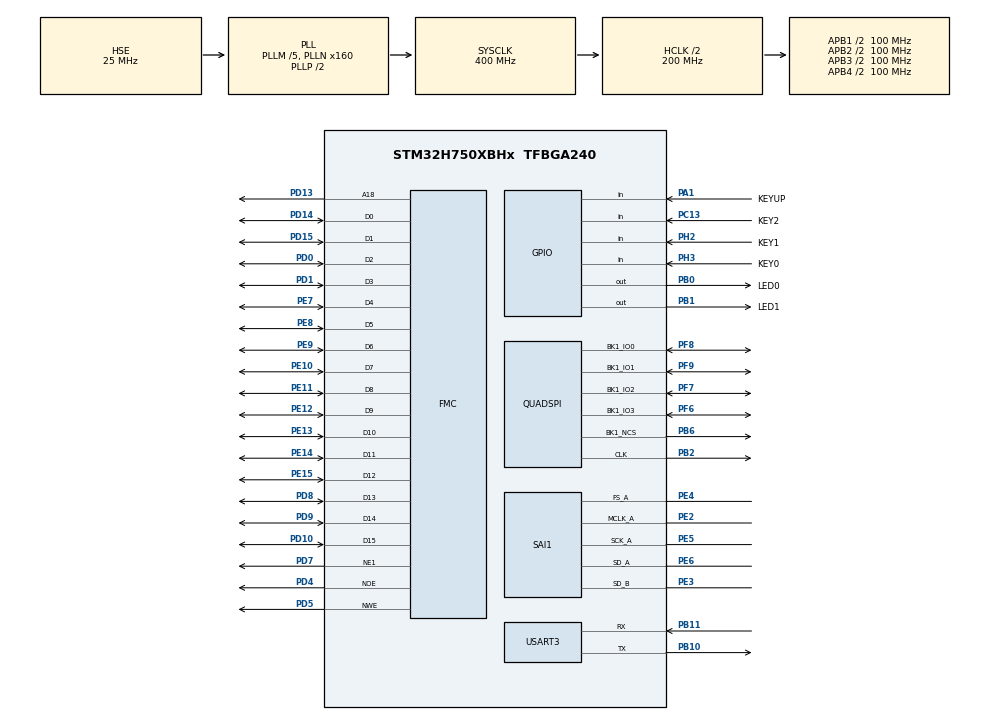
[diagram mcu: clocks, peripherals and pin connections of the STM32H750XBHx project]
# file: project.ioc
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CORTEX_M7.AccessPermission_S-Cortex_Memory_Protection_Unit_Region1_Settings_S=MPU_REGION_FULL_ACCESS
CORTEX_M7.AccessPermission_S-Cortex_Memory_Protection_Unit_Region2_Settings_S=MPU_REGION_FULL_ACCESS
CORTEX_M7.BaseAddress_S-Cortex_Memory_Protection_Unit_Region1_Settings_S=0x60000000
CORTEX_M7.BaseAddress_S-Cortex_Memory_Protection_Unit_Region2_Settings_S=0x90000000
CORTEX_M7.Enable_S-Cortex_Memory_Protection_Unit_Region1_Settings_S=MPU_REGION_ENABLE
CORTEX_M7.Enable_S-Cortex_Memory_Protection_Unit_Region2_Settings_S=MPU_REGION_ENABLE
CORTEX_M7.IsCacheable_S-Cortex_Memory_Protection_Unit_Region2_Settings_S=MPU_ACCESS_CACHEABLE
CORTEX_M7.Size_S-Cortex_Memory_Protection_Unit_Region1_Settings_S=MPU_REGION_SIZE_256MB
CORTEX_M7.Size_S-Cortex_Memory_Protection_Unit_Region2_Settings_S=MPU_REGION_SIZE_8MB
CORTEX_M7.Size_Spec=MPU_REGION_SIZE_512KB
CORTEX_M7.default_mode_Activation=1
DMA2D.ColorMode=DMA2D_OUTPUT_RGB565
Dma.Request0=SAI1_A
Dma.SAI1_A.0.Direction=DMA_MEMORY_TO_PERIPH
Dma.SAI1_A.0.EventEnable=DISABLE
Dma.SAI1_A.0.FIFOMode=DMA_FIFOMODE_ENABLE
Dma.SAI1_A.0.FIFOThreshold=DMA_FIFO_THRESHOLD_1QUARTERFULL
Dma.SAI1_A.0.Instance=DMA1_Stream0
Dma.SAI1_A.0.MemBurst=DMA_MBURST_SINGLE
Dma.SAI1_A.0.MemDataAlignment=DMA_MDATAALIGN_HALFWORD
Dma.SAI1_A.0.MemInc=DMA_MINC_ENABLE
Dma.SAI1_A.0.Mode=DMA_CIRCULAR
Dma.SAI1_A.0.PeriphBurst=DMA_PBURST_SINGLE
Dma.SAI1_A.0.PeriphDataAlignment=DMA_PDATAALIGN_HALFWORD
Dma.SAI1_A.0.PeriphInc=DMA_PINC_DISABLE
Dma.SAI1_A.0.Polarity=HAL_DMAMUX_REQ_GEN_RISING
Dma.SAI1_A.0.Priority=DMA_PRIORITY_VERY_HIGH
Dma.SAI1_A.0.RequestNumber=1
Dma.SAI1_A.0.SignalID=NONE
Dma.SAI1_A.0.SyncEnable=DISABLE
Dma.SAI1_A.0.SyncPolarity=HAL_DMAMUX_SYNC_NO_EVENT
Dma.SAI1_A.0.SyncRequestNumber=1
Dma.SAI1_A.0.SyncSignalID=NONE
FMC.AddressSetupTime1=10
FMC.BusTurnAroundDuration1=10
FMC.DataSetupTime1=25
FMC.WriteFifo1=FMC_WRITE_FIFO_ENABLE
Mcu.Family=STM32H7
Mcu.Name=STM32H750XBHx
Mcu.Package=TFBGA240
Mdma.MDMA_Channel0.Request0=SW
Mdma.MDMA_Channel0.RequestsNb=1
Mdma.MDMA_Channel0.SW.0.BlockCount=1
Mdma.MDMA_Channel0.SW.0.BlockDataLength=0
Mdma.MDMA_Channel0.SW.0.BufferTransferLength=32
Mdma.MDMA_Channel0.SW.0.CircularMode=MDMA_LINEAR_LIST
Mdma.MDMA_Channel0.SW.0.DataAlignment=MDMA_DATAALIGN_PACKENABLE
Mdma.MDMA_Channel0.SW.0.DestBlockAddressOffset=0
Mdma.MDMA_Channel0.SW.0.DestBurst=MDMA_DEST_BURST_4BEATS
Mdma.MDMA_Channel0.SW.0.DestDataSize=MDMA_DEST_DATASIZE_WORD
Mdma.MDMA_Channel0.SW.0.DestinationInc=MDMA_DEST_INC_WORD
Mdma.MDMA_Channel0.SW.0.DstAddress=0
Mdma.MDMA_Channel0.SW.0.Endianness=MDMA_LITTLE_ENDIANNESS_PRESERVE
Mdma.MDMA_Channel0.SW.0.Instance=MDMA_Channel0
Mdma.MDMA_Channel0.SW.0.MaskAddress=0
Mdma.MDMA_Channel0.SW.0.MaskData=0
Mdma.MDMA_Channel0.SW.0.Priority=MDMA_PRIORITY_VERY_HIGH
Mdma.MDMA_Channel0.SW.0.Rank=First
Mdma.MDMA_Channel0.SW.0.SourceBlockAddressOffset=0
Mdma.MDMA_Channel0.SW.0.SourceBurst=MDMA_SOURCE_BURST_4BEATS
Mdma.MDMA_Channel0.SW.0.SourceDataSize=MDMA_SRC_DATASIZE_WORD
Mdma.MDMA_Channel0.SW.0.SourceInc=MDMA_SRC_INC_WORD
Mdma.MDMA_Channel0.SW.0.SrcAddress=0
Mdma.MDMA_Channel0.SW.0.TransferTriggerMode=MDMA_BLOCK_TRANSFER
Mdma.RequestSet0=MDMA_Channel0
Mdma.RequestSetsNb=1
NVIC.DMA1_Stream0_IRQn=true\:5\:0\:true\:false\:true\:false\:true\:true
NVIC.DMA2D_IRQn=true\:5\:0\:true\:false\:true\:true\:true\:true
NVIC.MDMA_IRQn=true\:5\:0\:true\:false\:true\:false\:true\:true
NVIC.PriorityGroup=NVIC_PRIORITYGROUP_4
NVIC.TIM1_UP_IRQn=true\:15\:0\:false\:false\:true\:false\:true\:true
NVIC.TimeBase=TIM1_UP_IRQn
NVIC.TimeBaseIP=TIM1
PA1.GPIO_Label=KEYUP
PA1.GPIO_PuPd=GPIO_PULLDOWN
PA1.Signal=GPIO_Input
PB0.GPIO_Label=LED0
PB0.Signal=GPIO_Output
PB1.GPIO_Label=LED1
PB1.Signal=GPIO_Output
PB10.Mode=Asynchronous
PB10.Signal=USART3_TX
PB11.Mode=Asynchronous
PB11.Signal=USART3_RX
PB2.Mode=Single Bank 1
PB2.Signal=QUADSPI_CLK
PB6.Mode=Single Bank 1
PB6.Signal=QUADSPI_BK1_NCS
PC13.GPIO_Label=KEY2
PC13.Signal=GPIO_Input
PC14-OSC32_IN\ (OSC32_IN).Mode=LSE-External-Oscillator
PC14-OSC32_IN\ (OSC32_IN).Signal=RCC_OSC32_IN
PC15-OSC32_OUT\ (OSC32_OUT).Mode=LSE-External-Oscillator
PC15-OSC32_OUT\ (OSC32_OUT).Signal=RCC_OSC32_OUT
PD0.Signal=FMC_D2_DA2
PD1.Signal=FMC_D3_DA3
PD10.Signal=FMC_D15_DA15
PD13.Signal=FMC_A18
PD14.Signal=FMC_D0_DA0
PD15.Signal=FMC_D1_DA1
PD4.Signal=FMC_NOE
PD5.Signal=FMC_NWE
PD7.Mode=NorPsramChipSelect1_1
PD7.Signal=FMC_NE1
PD8.Signal=FMC_D13_DA13
PD9.Signal=FMC_D14_DA14
PE10.Signal=FMC_D7_DA7
PE11.Signal=FMC_D8_DA8
PE12.Signal=FMC_D9_DA9
PE13.Signal=FMC_D10_DA10
PE14.Signal=FMC_D11_DA11
PE15.Signal=FMC_D12_DA12
PE2.Mode=SAI_A_MasterWithClock
PE2.Signal=SAI1_MCLK_A
PE3.Mode=SAI_B_SyncSlave
PE3.Signal=SAI1_SD_B
PE4.Mode=SAI_A_MasterWithClock
PE4.Signal=SAI1_FS_A
PE5.Mode=SAI_A_MasterWithClock
PE5.Signal=SAI1_SCK_A
PE6.Mode=SAI_A_MasterWithClock
PE6.Signal=SAI1_SD_A
PE7.Signal=FMC_D4_DA4
PE8.Signal=FMC_D5_DA5
PE9.Signal=FMC_D6_DA6
PF6.Mode=Single Bank 1
PF6.Signal=QUADSPI_BK1_IO3
PF7.Mode=Single Bank 1
PF7.Signal=QUADSPI_BK1_IO2
PF8.Mode=Single Bank 1
PF8.Signal=QUADSPI_BK1_IO0
PF9.Mode=Single Bank 1
PF9.Signal=QUADSPI_BK1_IO1
PH0-OSC_IN\ (PH0).Mode=HSE-External-Oscillator
PH0-OSC_IN\ (PH0).Signal=RCC_OSC_IN
PH1-OSC_OUT\ (PH1).Mode=HSE-External-Oscillator
PH1-OSC_OUT\ (PH1).Signal=RCC_OSC_OUT
PH2.GPIO_Label=KEY1
PH2.Signal=GPIO_Input
PH3.GPIO_Label=KEY0
PH3.Signal=GPIO_Input
PH4.Signal=I2C2_SCL
PH5.Signal=I2C2_SDA
ProjectManager.HeapSize=0x2000
ProjectManager.StackSize=0x2000
ProjectManager.TargetToolchain=MDK-ARM V5.32
QUADSPI.ChipSelectHighTime=QSPI_CS_HIGH_TIME_3_CYCLE
QUADSPI.ClockPrescaler=32
QUADSPI.FifoThreshold=4
QUADSPI.FlashSize=23
RCC.ADCFreq_Value=50390625
RCC.APB1Freq_Value=100000000
RCC.APB2Freq_Value=100000000
RCC.APB3Freq_Value=100000000
RCC.APB4Freq_Value=100000000
RCC.CortexFreq_Value=400000000
RCC.D1PPRE=RCC_APB3_DIV2
RCC.D2PPRE1=RCC_APB1_DIV2
RCC.D2PPRE2=RCC_APB2_DIV2
RCC.D3PPRE=RCC_APB4_DIV2
RCC.DIVM1=5
RCC.DIVM3=25
RCC.DIVN1=160
RCC.DIVN3=428
RCC.DIVP3=38
RCC.EnableHSEDSI-ClockTree=true
RCC.HCLKFreq_Value=200000000
RCC.HPRE=RCC_HCLK_DIV2
RCC.PLL2FRACN=0
RCC.PLL3FRACN=0
RCC.PLLFRACN=0
RCC.PLLSourceVirtual=RCC_PLLSOURCE_HSE
RCC.SAI1CLockSelection=RCC_SAI1CLKSOURCE_PLL3
RCC.SYSCLKFreq_VALUE=400000000
RCC.SYSCLKSource=RCC_SYSCLKSOURCE_PLLCLK
RCC.USART234578CLockSelection=RCC_USART234578CLKSOURCE_CSI
RCC.USBFreq_Value=400000000
SAI1.AudioFrequency-SAI_A_MasterWithClock=SAI_AUDIO_FREQUENCY_44K
SAI1.ErrorAudioFreq-SAI_A_MasterWithClock=-0.23 %
SAI1.FIFOThreshold-SAI_A_MasterWithClock=SAI_FIFOTHRESHOLD_1QF
SAI1.FIFOThreshold-SAI_B_SyncSlave=SAI_FIFOTHRESHOLD_1QF
SAI1.InitProtocol-SAI_A_MasterWithClock=Enable
SAI1.InitProtocol-SAI_B_SyncSlave=Enable
SAI1.Instance-SAI_A_MasterWithClock=SAI$Index_Block_A
SAI1.Instance-SAI_B_SyncSlave=SAI$Index_Block_B
SAI1.MClockEnable-SAI_A_MasterWithClock=SAI_MASTERCLOCK_ENABLE
SAI1.NoDivider-SAI_A_MasterWithClock=SAI_MCK_OVERSAMPLING_ENABLE
SAI1.OutputDrive-SAI_A_MasterWithClock=SAI_OUTPUTDRIVE_ENABLE
SAI1.OutputDrive-SAI_B_SyncSlave=SAI_OUTPUTDRIVE_ENABLE
SAI1.RealAudioFreq-SAI_A_MasterWithClock=43.996 KHz
SAI1.VirtualMode-SAI_A_MasterWithClock=VM_MASTER
SAI1.VirtualMode-SAI_B_SyncSlave=VM_SLAVE
SAI1.VirtualProtocol-SAI_A_BASIC=VM_BASIC_PROTOCOL
SAI1.VirtualProtocol-SAI_B_BASIC=VM_BASIC_PROTOCOL
SH.FMC_A18.0=FMC_A18,A18_1
SH.FMC_D0_DA0.0=FMC_D0,16b-d1
SH.FMC_D10_DA10.0=FMC_D10,16b-d1
SH.FMC_D11_DA11.0=FMC_D11,16b-d1
SH.FMC_D12_DA12.0=FMC_D12,16b-d1
SH.FMC_D13_DA13.0=FMC_D13,16b-d1
SH.FMC_D14_DA14.0=FMC_D14,16b-d1
SH.FMC_D15_DA15.0=FMC_D15,16b-d1
SH.FMC_D1_DA1.0=FMC_D1,16b-d1
SH.FMC_D2_DA2.0=FMC_D2,16b-d1
SH.FMC_D3_DA3.0=FMC_D3,16b-d1
SH.FMC_D4_DA4.0=FMC_D4,16b-d1
SH.FMC_D5_DA5.0=FMC_D5,16b-d1
SH.FMC_D6_DA6.0=FMC_D6,16b-d1
SH.FMC_D7_DA7.0=FMC_D7,16b-d1
SH.FMC_D8_DA8.0=FMC_D8,16b-d1
SH.FMC_D9_DA9.0=FMC_D9,16b-d1
SH.FMC_NOE.0=FMC_NOE,Lcd1
SH.FMC_NWE.0=FMC_NWE,Lcd1
USART3.VirtualMode-Asynchronous=VM_ASYNC
VP_DMA2D_VS_DMA2D.Mode=DMA2D_Activate
VP_MEMORYMAP_VS_MEMORYMAP.Mode=CurAppReg
VP_SAI1_VP_$IpInstance_SAIA_SAI_BASIC.Mode=SAI_A_BASIC
VP_SAI1_VP_$IpInstance_SAIB_SAI_BASIC.Mode=SAI_B_BASIC
VP_SYS_VS_tim1.Mode=TIM1
board=custom

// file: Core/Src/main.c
/* USER CODE BEGIN Header */
/**
  ******************************************************************************
  * @file           : main.c
  * @brief          : Main program body
  ******************************************************************************
  * @attention
  *
  * Copyright (c) 2026 STMicroelectronics.
  * All rights reserved.
  *
  * This software is licensed under terms that can be found in the LICENSE file
  * in the root directory of this software component.
  * If no LICENSE file comes with this software, it is provided AS-IS.
  *
  ******************************************************************************
  */
/* USER CODE END Header */
#include "main.h"
#include "dma.h"
#include "dma2d.h"
#include "mdma.h"
#include "quadspi.h"
#include "sai.h"
#include "usart.h"
#include "gpio.h"
#include "fmc.h"

/* USER CODE BEGIN Includes */
#include "FreeRTOS.h"
#include "task.h"
#include "retarget.h"
#include "KEY\key.h"
#include "KEY\task_key.h"
#include "DELAY\delay.h"
#include "LCD\lcd.h"
#include "TOUCH\atk_md0430_touch.h"
#include "QSPI\qspi.h"
#include "ES8388\es8388.h"
#include "PCF8574\pcf8574.h"
#include "I2C\myi2c.h"
#include "SAI\sai_audio.h"
#include "AUDIO/audio_src_flash.h"

#include "lvgl.h"
#include "lv_port_disp.h"
#include "lv_port_indev.h"
/* USER CODE END Includes */

void SystemClock_Config(void);
void PeriphCommonClock_Config(void);
static void MPU_Config(void);

/* USER CODE BEGIN 0 */
// 1. 先在 main 函数外面定义回调函数
void btn_event_cb(lv_event_t * e) {
    lv_event_code_t code = lv_event_get_code(e);
    if(code == LV_EVENT_CLICKED) {
        lv_obj_t * btn = lv_event_get_target(e);
        // 点击后改变按钮颜色为红色
        lv_obj_set_style_bg_color(btn, lv_palette_main(LV_PALETTE_RED), 0);
    }
}

// 2. 在你的测试初始化里调用
void lvgl_touch_test(void) {
    lv_obj_t * btn = lv_btn_create(lv_scr_act());
    lv_obj_set_size(btn, 240, 128);
    lv_obj_center(btn);

    lv_obj_t * label = lv_label_create(btn);
    lv_label_set_text(label, "Click Me!");
    lv_obj_center(label);

    // 修改这一行，传入函数名
    lv_obj_add_event_cb(btn, btn_event_cb, LV_EVENT_ALL, NULL);
}

void vApplicationTickHook(void)
{
    lv_tick_inc(1);
}

void vlvglttask(void *pvParameters)
{
    for(;;)
    {
        lv_timer_handler();
        vTaskDelay(pdMS_TO_TICKS(5));
    }
}

void vled1task(void *pvParameters)
{
	for(;;)
	{
		HAL_GPIO_WritePin(GPIOB, GPIO_PIN_1, 1);
		vTaskDelay(pdMS_TO_TICKS(500));
		HAL_GPIO_WritePin(GPIOB, GPIO_PIN_1, 0);
    vTaskDelay(pdMS_TO_TICKS(500));

	}
}

void vled0task(void *pvParameters)
{
	for(;;)
	{
    HAL_GPIO_WritePin(GPIOB, GPIO_PIN_0, 1);
		vTaskDelay(pdMS_TO_TICKS(50));
		HAL_GPIO_WritePin(GPIOB, GPIO_PIN_0, 0);
    vTaskDelay(pdMS_TO_TICKS(50));

	}
}

void vuarst1task(void *pvParameters)
{
	for(;;)
	{
		vTaskDelay(pdMS_TO_TICKS(100));
    HAL_UART_Transmit(&huart3, (uint8_t *)"rtos ok\r\n", 9, 100);
	}
}

//void vaudiotask(void *pvParameters)
//{
//	audio_init();
//	uint32_t *p = (uint32_t *)0x90100000;
//	printf("Flash 0x90100000: %08X %08X %08X %08X\r\n",p[0], p[1], p[2], p[3]);
//	sai_audio_play(&song_info[0]);
//	vTaskDelete(NULL);
//}

static const flash_audio_t song1 = { 0x100000, 0x307318 };   /* 偏移+长度 */
static const media_item_t playlist[] = {
    { &audio_src_flash, &song1, "flash_test" },
};

/* USER CODE END 0 */

int main(void)
{

  /* USER CODE BEGIN 1 */
    SCB->VTOR = 0x90000000UL;
    __DSB();
  /* USER CODE END 1 */

  /* MPU Configuration--------------------------------------------------------*/
  MPU_Config();

  /* MCU Configuration--------------------------------------------------------*/

  /* Reset of all peripherals, Initializes the Flash interface and the Systick. */
  HAL_Init();

  /* USER CODE BEGIN Init */
	SCB_EnableICache();
  SCB_EnableDCache();
  /* USER CODE END Init */

  /* Configure the system clock */
  SystemClock_Config();

  /* Configure the peripherals common clocks */
  PeriphCommonClock_Config();

  /* Initialize all configured peripherals */
  MX_GPIO_Init();
  MX_MDMA_Init();
  MX_DMA_Init();
  MX_USART3_UART_Init();
  MX_DMA2D_Init();
//  MX_QUADSPI_Init();
  MX_FMC_Init();
  MX_SAI1_Init();
  /* USER CODE BEGIN 2 */

//	printf("app enter\n");

	DWT_Init();
	lcd_init();
//	lcd_clear(RED);
	lv_init();

	lv_port_disp_init();  // 移植好的那个文件
  lv_port_indev_init(); // 触摸初始化
  lvgl_touch_test();

//  xTaskCreate(vled1task, "led", 128, NULL, 1, NULL);
//  xTaskCreate(vled0task, "led", 128, NULL, 2, NULL);
  xTaskCreate(vlvglttask, "lvgl", 2048, NULL, 1, NULL);
  xTaskCreate(vaudiotask, "audio", 2048, (void *)&playlist[0], 3, NULL);

//  xTaskCreate(vuarst1task, "uart", 128, NULL, 1, NULL);
//  xTaskCreate(vKey1task, "key1", 128, &hkey1, 2, NULL);
//  xTaskCreate(vKey1task, "key2", 128, &hkey2, 3, NULL);

//	i2c_test_comm();
//	pcf8574_i2c_test();
//	W25QXX_Test();
  vTaskStartScheduler();
  /* USER CODE END 2 */

  /* Infinite loop */
  while (1)
  {

  }
}

void SystemClock_Config(void)
{
  RCC_OscInitTypeDef RCC_OscInitStruct = {0};
  RCC_ClkInitTypeDef RCC_ClkInitStruct = {0};

  /** Supply configuration update enable
  */
  HAL_PWREx_ConfigSupply(PWR_LDO_SUPPLY);

  /** Configure the main internal regulator output voltage
  */
  __HAL_PWR_VOLTAGESCALING_CONFIG(PWR_REGULATOR_VOLTAGE_SCALE1);

  while(!__HAL_PWR_GET_FLAG(PWR_FLAG_VOSRDY)) {}

  /** Initializes the RCC Oscillators according to the specified parameters
  * in the RCC_OscInitTypeDef structure.
  */
  RCC_OscInitStruct.OscillatorType = RCC_OSCILLATORTYPE_CSI|RCC_OSCILLATORTYPE_HSE;
  RCC_OscInitStruct.HSEState = RCC_HSE_ON;
  RCC_OscInitStruct.CSIState = RCC_CSI_ON;
  RCC_OscInitStruct.CSICalibrationValue = RCC_CSICALIBRATION_DEFAULT;
  RCC_OscInitStruct.PLL.PLLState = RCC_PLL_ON;
  RCC_OscInitStruct.PLL.PLLSource = RCC_PLLSOURCE_HSE;
  RCC_OscInitStruct.PLL.PLLM = 5;
  RCC_OscInitStruct.PLL.PLLN = 160;
  RCC_OscInitStruct.PLL.PLLP = 2;
  RCC_OscInitStruct.PLL.PLLQ = 2;
  RCC_OscInitStruct.PLL.PLLR = 2;
  RCC_OscInitStruct.PLL.PLLRGE = RCC_PLL1VCIRANGE_2;
  RCC_OscInitStruct.PLL.PLLVCOSEL = RCC_PLL1VCOWIDE;
  RCC_OscInitStruct.PLL.PLLFRACN = 0;
  if (HAL_RCC_OscConfig(&RCC_OscInitStruct) != HAL_OK)
  {
    Error_Handler();
  }

  /** Initializes the CPU, AHB and APB buses clocks
  */
  RCC_ClkInitStruct.ClockType = RCC_CLOCKTYPE_HCLK|RCC_CLOCKTYPE_SYSCLK
                              |RCC_CLOCKTYPE_PCLK1|RCC_CLOCKTYPE_PCLK2
                              |RCC_CLOCKTYPE_D3PCLK1|RCC_CLOCKTYPE_D1PCLK1;
  RCC_ClkInitStruct.SYSCLKSource = RCC_SYSCLKSOURCE_PLLCLK;
  RCC_ClkInitStruct.SYSCLKDivider = RCC_SYSCLK_DIV1;
  RCC_ClkInitStruct.AHBCLKDivider = RCC_HCLK_DIV2;
  RCC_ClkInitStruct.APB3CLKDivider = RCC_APB3_DIV2;
  RCC_ClkInitStruct.APB1CLKDivider = RCC_APB1_DIV2;
  RCC_ClkInitStruct.APB2CLKDivider = RCC_APB2_DIV2;
  RCC_ClkInitStruct.APB4CLKDivider = RCC_APB4_DIV2;

  if (HAL_RCC_ClockConfig(&RCC_ClkInitStruct, FLASH_LATENCY_2) != HAL_OK)
  {
    Error_Handler();
  }
}

void PeriphCommonClock_Config(void)
{
  RCC_PeriphCLKInitTypeDef PeriphClkInitStruct = {0};

  /** Initializes the peripherals clock
  */
  PeriphClkInitStruct.PeriphClockSelection = RCC_PERIPHCLK_SAI1;
  PeriphClkInitStruct.PLL3.PLL3M = 25;
  PeriphClkInitStruct.PLL3.PLL3N = 428;
  PeriphClkInitStruct.PLL3.PLL3P = 38;
  PeriphClkInitStruct.PLL3.PLL3Q = 2;
  PeriphClkInitStruct.PLL3.PLL3R = 2;
  PeriphClkInitStruct.PLL3.PLL3RGE = RCC_PLL3VCIRANGE_0;
  PeriphClkInitStruct.PLL3.PLL3VCOSEL = RCC_PLL3VCOWIDE;
  PeriphClkInitStruct.PLL3.PLL3FRACN = 0;
  PeriphClkInitStruct.Sai1ClockSelection = RCC_SAI1CLKSOURCE_PLL3;
  if (HAL_RCCEx_PeriphCLKConfig(&PeriphClkInitStruct) != HAL_OK)
  {
    Error_Handler();
  }
}

 /* MPU Configuration */

void MPU_Config(void)
{
  MPU_Region_InitTypeDef MPU_InitStruct = {0};

  /* Disables the MPU */
  HAL_MPU_Disable();

  /** Initializes and configures the Region and the memory to be protected
  */
  MPU_InitStruct.Enable = MPU_REGION_ENABLE;
  MPU_InitStruct.Number = MPU_REGION_NUMBER0;
  MPU_InitStruct.BaseAddress = 0x0;
  MPU_InitStruct.Size = MPU_REGION_SIZE_512KB;
  MPU_InitStruct.SubRegionDisable = 0x87;
  MPU_InitStruct.TypeExtField = MPU_TEX_LEVEL0;
  MPU_InitStruct.AccessPermission = MPU_REGION_NO_ACCESS;
  MPU_InitStruct.DisableExec = MPU_INSTRUCTION_ACCESS_DISABLE;
  MPU_InitStruct.IsShareable = MPU_ACCESS_SHAREABLE;
  MPU_InitStruct.IsCacheable = MPU_ACCESS_NOT_CACHEABLE;
  MPU_InitStruct.IsBufferable = MPU_ACCESS_NOT_BUFFERABLE;

  HAL_MPU_ConfigRegion(&MPU_InitStruct);

  /** Initializes and configures the Region and the memory to be protected
  */
  MPU_InitStruct.Number = MPU_REGION_NUMBER1;
  MPU_InitStruct.BaseAddress = 0x60000000;
  MPU_InitStruct.Size = MPU_REGION_SIZE_256MB;
  MPU_InitStruct.SubRegionDisable = 0x0;
  MPU_InitStruct.AccessPermission = MPU_REGION_FULL_ACCESS;
  MPU_InitStruct.DisableExec = MPU_INSTRUCTION_ACCESS_ENABLE;
  MPU_InitStruct.IsShareable = MPU_ACCESS_NOT_SHAREABLE;

  HAL_MPU_ConfigRegion(&MPU_InitStruct);

  /** Initializes and configures the Region and the memory to be protected
  */
  MPU_InitStruct.Number = MPU_REGION_NUMBER2;
  MPU_InitStruct.BaseAddress = 0x90000000;
  MPU_InitStruct.Size = MPU_REGION_SIZE_8MB;
  MPU_InitStruct.IsCacheable = MPU_ACCESS_CACHEABLE;

  HAL_MPU_ConfigRegion(&MPU_InitStruct);
  /* Enables the MPU */
  HAL_MPU_Enable(MPU_PRIVILEGED_DEFAULT);

}

void HAL_TIM_PeriodElapsedCallback(TIM_HandleTypeDef *htim)
{
  if (htim->Instance == TIM1)
  {
    HAL_IncTick();
  }
}

void Error_Handler(void)
{
  __disable_irq();
  while (1)
  {
  }
}
